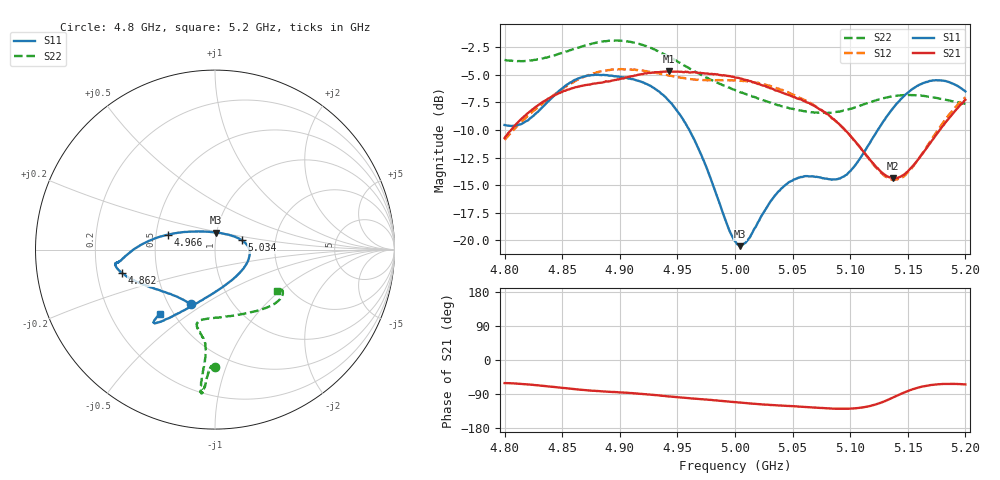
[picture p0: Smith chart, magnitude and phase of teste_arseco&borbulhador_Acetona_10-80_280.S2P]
! Network Analyzer HP8722D
! Hewlett-Packard
! Data name: Linha & Wilkinson
! Saver's name: Rodrigo Anjos
! Comments: Teste da utilização de aquisição
! continua pelo VNA HP8722D
! Time and date: 17/4/2025 16:41
!  Frequency  S11  S21  S12  S22
# HZ  S  MA R 50
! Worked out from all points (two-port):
!   401 points, 4.8 GHz to 5.2 GHz, reference 50 ohm
!   highest |S21| = -4.69 dB at 4.943 GHz (marker M1); lowest = -14.4 dB at 5.137 GHz (marker M2)
!   |S21| within 3 dB of the highest: 4.83 GHz to 5.066 GHz (236.3 MHz wide, 4.78 % of centre); 5.19612 GHz to end of sweep
!   lowest |S11| = -20.5 dB at 5.004 GHz (marker M3), VSWR 1.21, Z = 49.8 + j9.44 ohm
!   |S11| at or under -10 dB: 4.96 GHz to 5.124 GHz (163.6 MHz wide, 3.24 % of centre)
!   |S22| runs from -8.5 to -1.9 dB; largest |S21 - S12| = 0.87
!   S11 on the Smith chart (normalised r, x): 4.8 GHz: 0.65, -0.44; 4.862 GHz: 0.31, -0.11; 4.966 GHz: 0.58, +0.10; 5.034 GHz: 1.34, +0.15; 5.2 GHz: 0.42, -0.39
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4.8e9  0.3332 -113.6  0.291 -60.9  0.2853 -175.0  0.6569 -90.1
4.819e9  0.3475 -133.6  0.3727 -64.2  0.3614 -173.8  0.6499 -91.7
4.862e9  0.5356 -166.1  0.4948 -77.1  0.5298 -177.1  0.7413 -94.1
4.867e9  0.5481 -168.0  0.5008 -78.7  0.5449 -178.0  0.7564 -94.1
4.899e9  0.5512 -172.5  0.5358 -85.4  0.5965 175.3  0.8027 -95.4
4.934e9  0.473 -178.4  0.5778 -93.6  0.5714 171.8  0.7148 -96.0
4.943e9  0.4264 177.6  0.583 -96.2  0.557 171.7  0.678 -95.6
4.966e9  0.2764 162.5  0.576 -102.1  0.534 173.6  0.579 -95.0
5e9  0.0993 100.0  0.5464 -111.3  0.5313 176.1  0.4795 -99.2
5.004e9  0.09421 86.0  0.5425 -112.4  0.5286 176.0  0.4706 -100.0
5.011e9  0.1005 62.1  0.5312 -114.2  0.5246 175.8  0.4582 -101.6
5.034e9  0.1581 19.5  0.4814 -119.2  0.4941 174.8  0.4154 -103.4
5.049e9  0.1859 4.3  0.4499 -121.7  0.4611 174.0  0.3946 -99.7
5.067e9  0.1953 -15.0  0.4114 -125.1  0.4147 173.6  0.3808 -90.6
5.086e9  0.189 -45.1  0.3533 -128.2  0.3529 173.6  0.3804 -76.0
5.097e9  0.1985 -67.5  0.3106 -128.7  0.3105 174.8  0.3903 -67.0
5.134e9  0.378 -116.8  0.1932 -103.4  0.1898 -156.4  0.4467 -43.0
5.137e9  0.3954 -118.7  0.191 -99.3  0.1886 -151.5  0.4497 -41.7
5.15e9  0.4669 -124.5  0.2053 -82.0  0.2029 -131.6  0.4555 -36.7
5.17e9  0.528 -129.1  0.2781 -66.1  0.2834 -112.3  0.4461 -32.0
5.184e9  0.5244 -130.4  0.3488 -63.1  0.3609 -107.4  0.4323 -31.1
5.2e9  0.4728 -130.8  0.4332 -64.5  0.4455 -106.7  0.4152 -33.4
